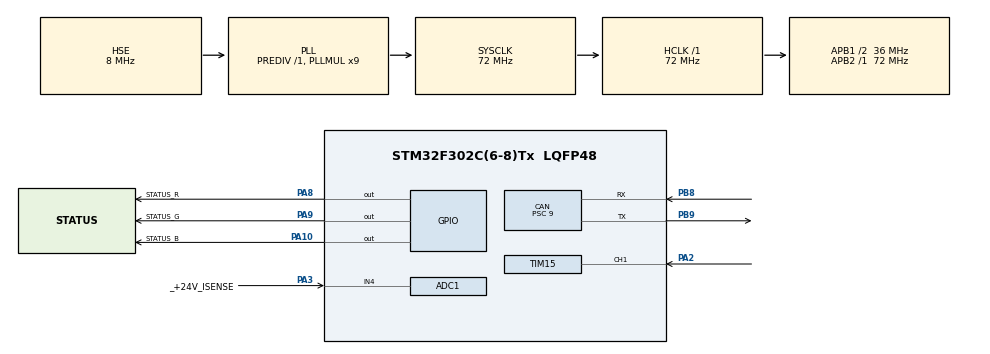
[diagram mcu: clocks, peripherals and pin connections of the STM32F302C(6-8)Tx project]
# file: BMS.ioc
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ADC1.Channel-0\#ChannelRegularConversion=ADC_CHANNEL_4
ADC1.NbrOfConversionFlag=1
ADC1.Offset-0\#ChannelRegularConversion=0
ADC1.OffsetNumber-0\#ChannelRegularConversion=ADC_OFFSET_NONE
ADC1.Rank-0\#ChannelRegularConversion=1
ADC1.SamplingTime-0\#ChannelRegularConversion=ADC_SAMPLETIME_1CYCLE_5
ADC1.SubFamily=STM32F302x8
ADC1.master=1
CAN.ABOM=ENABLE
CAN.BS1=CAN_BS1_6TQ
CAN.CalculateTimeQuantum=250.0
CAN.NART=ENABLE
CAN.Prescaler=9
CAN.RFLM=ENABLE
CAN.SJW=CAN_SJW_4TQ
CAN.TXFP=ENABLE
FREERTOS.INCLUDE_uxTaskGetStackHighWaterMark=1
FREERTOS.INCLUDE_vTaskDelayUntil=1
FREERTOS.MEMORY_ALLOCATION=1
FREERTOS.Tasks01=Task1Hz,-2,128,RunTask1Hz,Default,NULL,Static,Task1HzBuffer,Task1HzControlBlock;Task1kHz,1,128,RunTask1kHz,Default,NULL,Static,Task1kHzBuffer,Task1kHzControlBlock;TaskCanRx,3,128,RunTaskCanRx,Default,NULL,Static,TaskCanRxBuffer,TaskCanRxControlBlock;TaskCanTx,3,128,RunTaskCanTx,Default,NULL,Static,TaskCanTxBuffer,TaskCanTxControlBlock
FREERTOS.configCHECK_FOR_STACK_OVERFLOW=2
FREERTOS.configUSE_TRACE_FACILITY=1
IWDG.Reload=LSI_FREQUENCY / IWDG_PRESCALER / IWDG_RESET_FREQUENCY
IWDG.Window=IWDG_WINDOW_DISABLE_VALUE
Mcu.Family=STM32F3
Mcu.Name=STM32F302C(6-8)Tx
Mcu.Package=LQFP48
Mcu.UserConstants=IWDG_WINDOW_DISABLE_VALUE,4095;IWDG_PRESCALER,4;IWDG_RESET_FREQUENCY,5;LSI_FREQUENCY,40000
NVIC.CAN_RX1_IRQn=true\:5\:0\:false\:false\:true\:true\:true\:true
NVIC.PriorityGroup=NVIC_PRIORITYGROUP_4
NVIC.TIM1_BRK_TIM15_IRQn=true\:5\:0\:false\:false\:true\:true\:true\:true
NVIC.TIM2_IRQn=true\:0\:0\:false\:false\:true\:false\:false\:true
NVIC.TimeBase=TIM2_IRQn
NVIC.TimeBaseIP=TIM2
NVIC.USB_HP_CAN_TX_IRQn=true\:5\:0\:false\:false\:true\:true\:true\:true
NVIC.USB_LP_CAN_RX0_IRQn=true\:5\:0\:false\:false\:true\:true\:true\:true
PA10.GPIO_Label=STATUS_B
PA10.PinState=GPIO_PIN_SET
PA10.Signal=GPIO_Output
PA13.Mode=Trace_Asynchronous_SW
PA13.Signal=SYS_JTMS-SWDIO
PA14.Mode=Trace_Asynchronous_SW
PA14.Signal=SYS_JTCK-SWCLK
PA2.Signal=S_TIM15_CH1
PA3.GPIO_Label=_+24V_ISENSE
PA3.Mode=IN4-Single-Ended
PA3.Signal=ADC1_IN4
PA8.GPIO_Label=STATUS_R
PA8.PinState=GPIO_PIN_SET
PA8.Signal=GPIO_Output
PA9.GPIO_Label=STATUS_G
PA9.PinState=GPIO_PIN_SET
PA9.Signal=GPIO_Output
PB12.Signal=SPI2_NSS
PB13.Signal=SPI2_SCK
PB14.Signal=SPI2_MISO
PB15.Signal=SPI2_MOSI
PB3.Mode=Trace_Asynchronous_SW
PB3.Signal=SYS_JTDO-TRACESWO
PB6.Signal=I2C1_SCL
PB7.Signal=I2C1_SDA
PB8.Mode=Master
PB8.Signal=CAN_RX
PB9.Mode=Master
PB9.Signal=CAN_TX
PF0-OSC_IN.Mode=HSE-External-Oscillator
PF0-OSC_IN.Signal=RCC_OSC_IN
PF1-OSC_OUT.Mode=HSE-External-Oscillator
PF1-OSC_OUT.Signal=RCC_OSC_OUT
ProjectManager.HeapSize=0x0
ProjectManager.StackSize=0x400
ProjectManager.TargetToolchain=SW4STM32
RCC.AHBFreq_Value=72000000
RCC.APB1CLKDivider=RCC_HCLK_DIV2
RCC.APB1Freq_Value=36000000
RCC.APB1TimFreq_Value=72000000
RCC.APB2Freq_Value=72000000
RCC.APB2TimFreq_Value=72000000
RCC.CortexFreq_Value=72000000
RCC.HCLKFreq_Value=72000000
RCC.HSE_VALUE=8000000
RCC.HSI_VALUE=8000000
RCC.LSE_VALUE=32768
RCC.PLLMUL=RCC_PLL_MUL9
RCC.PLLSourceVirtual=RCC_PLLSOURCE_HSE
RCC.SYSCLKFreq_VALUE=72000000
RCC.SYSCLKSourceVirtual=RCC_SYSCLKSOURCE_PLLCLK
RCC.USBFreq_Value=72000000
SH.S_TIM15_CH1.0=TIM15_CH1,PWM_Input_1
TIM15.ICPolarity_1=TIM_INPUTCHANNELPOLARITY_RISING
VP_FREERTOS_VS_CMSIS_V1.Mode=CMSIS_V1
VP_IWDG_VS_IWDG.Mode=IWDG_Activate
VP_SYS_VS_tim2.Mode=TIM2
VP_TIM15_VS_ClockSourceINT.Mode=Internal
board=custom

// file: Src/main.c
/* USER CODE BEGIN Header */
/**
 ******************************************************************************
 * @file           : main.c
 * @brief          : Main program body
 ******************************************************************************
 * @attention
 *
 * <h2><center>&copy; Copyright (c) 2019 STMicroelectronics.
 * All rights reserved.</center></h2>
 *
 * This software component is licensed by ST under BSD 3-Clause license,
 * the "License"; You may not use this file except in compliance with the
 * License. You may obtain a copy of the License at:
 *                        opensource.org/licenses/BSD-3-Clause
 *
 ******************************************************************************
 */
/* USER CODE END Header */

#include "main.h"
#include "cmsis_os.h"

/* USER CODE BEGIN Includes */
#include "SharedAssert.h"
#include "SharedCan.h"
#include "SharedCmsisOs.h"
#include "SharedHardFaultHandler.h"
#include "SharedWatchdog.h"
#include "Io_Can.h"
#include "auto_generated/App_CanTx.h"
#include "auto_generated/App_CanRx.h"
/* USER CODE END Includes */

ADC_HandleTypeDef hadc1;

CAN_HandleTypeDef hcan;

IWDG_HandleTypeDef hiwdg;

TIM_HandleTypeDef htim15;

osThreadId          Task1HzHandle;
uint32_t            Task1HzBuffer[128];
osStaticThreadDef_t Task1HzControlBlock;
osThreadId          Task1kHzHandle;
uint32_t            Task1kHzBuffer[128];
osStaticThreadDef_t Task1kHzControlBlock;
osThreadId          TaskCanRxHandle;
uint32_t            TaskCanRxBuffer[128];
osStaticThreadDef_t TaskCanRxControlBlock;
osThreadId          TaskCanTxHandle;
uint32_t            TaskCanTxBuffer[128];
osStaticThreadDef_t TaskCanTxControlBlock;

void        SystemClock_Config(void);
static void MX_GPIO_Init(void);
static void MX_CAN_Init(void);
static void MX_ADC1_Init(void);
static void MX_IWDG_Init(void);
static void MX_TIM15_Init(void);
void        RunTask1Hz(void const *argument);
void        RunTask1kHz(void const *argument);
void        RunTaskCanRx(void const *argument);
void        RunTaskCanTx(void const *argument);

int main(void)
{
    /* USER CODE BEGIN 1 */
    __HAL_DBGMCU_FREEZE_IWDG();
    SharedHardFaultHandler_Init();
    App_CanTx_Init();
    App_CanRx_Init();
    /* USER CODE END 1 */

    /* MCU
     * Configuration--------------------------------------------------------*/

    /* Reset of all peripherals, Initializes the Flash interface and the
     * Systick. */
    HAL_Init();

    /* Configure the system clock */
    SystemClock_Config();

    /* Initialize all configured peripherals */
    MX_GPIO_Init();
    MX_CAN_Init();
    MX_ADC1_Init();
    MX_IWDG_Init();
    MX_TIM15_Init();

    /* Create the thread(s) */
    /* definition and creation of Task1Hz */
    osThreadStaticDef(
        Task1Hz, RunTask1Hz, osPriorityLow, 0, 128, Task1HzBuffer,
        &Task1HzControlBlock);
    Task1HzHandle = osThreadCreate(osThread(Task1Hz), NULL);

    /* definition and creation of Task1kHz */
    osThreadStaticDef(
        Task1kHz, RunTask1kHz, osPriorityAboveNormal, 0, 128, Task1kHzBuffer,
        &Task1kHzControlBlock);
    Task1kHzHandle = osThreadCreate(osThread(Task1kHz), NULL);

    /* definition and creation of TaskCanRx */
    osThreadStaticDef(
        TaskCanRx, RunTaskCanRx, osPriorityRealtime, 0, 128, TaskCanRxBuffer,
        &TaskCanRxControlBlock);
    TaskCanRxHandle = osThreadCreate(osThread(TaskCanRx), NULL);

    /* definition and creation of TaskCanTx */
    osThreadStaticDef(
        TaskCanTx, RunTaskCanTx, osPriorityRealtime, 0, 128, TaskCanTxBuffer,
        &TaskCanTxControlBlock);
    TaskCanTxHandle = osThreadCreate(osThread(TaskCanTx), NULL);

    /* USER CODE BEGIN RTOS_THREADS */
    /* add threads, ... */
    // According to Percpio documentation, vTraceEnable() should be the last
    // function call before the scheduler starts.
#if (configUSE_TRACE_FACILITY == 1)
    vTraceEnable(TRC_INIT);
#endif
    /* USER CODE END RTOS_THREADS */

    /* Start scheduler */
    osKernelStart();

    /* We should never get here as control is now taken by the scheduler */

    /* Infinite loop */
    while (1)
    {

    }
}

void SystemClock_Config(void)
{
    RCC_OscInitTypeDef       RCC_OscInitStruct = { 0 };
    RCC_ClkInitTypeDef       RCC_ClkInitStruct = { 0 };
    RCC_PeriphCLKInitTypeDef PeriphClkInit     = { 0 };

    /** Initializes the CPU, AHB and APB busses clocks
     */
    RCC_OscInitStruct.OscillatorType =
        RCC_OSCILLATORTYPE_LSI | RCC_OSCILLATORTYPE_HSE;
    RCC_OscInitStruct.HSEState       = RCC_HSE_ON;
    RCC_OscInitStruct.HSEPredivValue = RCC_HSE_PREDIV_DIV1;
    RCC_OscInitStruct.HSIState       = RCC_HSI_ON;
    RCC_OscInitStruct.LSIState       = RCC_LSI_ON;
    RCC_OscInitStruct.PLL.PLLState   = RCC_PLL_ON;
    RCC_OscInitStruct.PLL.PLLSource  = RCC_PLLSOURCE_HSE;
    RCC_OscInitStruct.PLL.PLLMUL     = RCC_PLL_MUL9;
    if (HAL_RCC_OscConfig(&RCC_OscInitStruct) != HAL_OK)
    {
        Error_Handler();
    }
    /** Initializes the CPU, AHB and APB busses clocks
     */
    RCC_ClkInitStruct.ClockType = RCC_CLOCKTYPE_HCLK | RCC_CLOCKTYPE_SYSCLK |
                                  RCC_CLOCKTYPE_PCLK1 | RCC_CLOCKTYPE_PCLK2;
    RCC_ClkInitStruct.SYSCLKSource   = RCC_SYSCLKSOURCE_PLLCLK;
    RCC_ClkInitStruct.AHBCLKDivider  = RCC_SYSCLK_DIV1;
    RCC_ClkInitStruct.APB1CLKDivider = RCC_HCLK_DIV2;
    RCC_ClkInitStruct.APB2CLKDivider = RCC_HCLK_DIV1;

    if (HAL_RCC_ClockConfig(&RCC_ClkInitStruct, FLASH_LATENCY_2) != HAL_OK)
    {
        Error_Handler();
    }
    PeriphClkInit.PeriphClockSelection =
        RCC_PERIPHCLK_TIM15 | RCC_PERIPHCLK_ADC1;
    PeriphClkInit.Tim15ClockSelection = RCC_TIM15CLK_HCLK;
    PeriphClkInit.Adc1ClockSelection  = RCC_ADC1PLLCLK_DIV1;

    if (HAL_RCCEx_PeriphCLKConfig(&PeriphClkInit) != HAL_OK)
    {
        Error_Handler();
    }
}

static void MX_ADC1_Init(void)
{

    ADC_ChannelConfTypeDef sConfig = { 0 };

    /** Common config
     */
    hadc1.Instance                   = ADC1;
    hadc1.Init.ClockPrescaler        = ADC_CLOCK_ASYNC_DIV1;
    hadc1.Init.Resolution            = ADC_RESOLUTION_12B;
    hadc1.Init.ScanConvMode          = ADC_SCAN_DISABLE;
    hadc1.Init.ContinuousConvMode    = DISABLE;
    hadc1.Init.DiscontinuousConvMode = DISABLE;
    hadc1.Init.ExternalTrigConvEdge  = ADC_EXTERNALTRIGCONVEDGE_NONE;
    hadc1.Init.ExternalTrigConv      = ADC_SOFTWARE_START;
    hadc1.Init.DataAlign             = ADC_DATAALIGN_RIGHT;
    hadc1.Init.NbrOfConversion       = 1;
    hadc1.Init.DMAContinuousRequests = DISABLE;
    hadc1.Init.EOCSelection          = ADC_EOC_SINGLE_CONV;
    hadc1.Init.LowPowerAutoWait      = DISABLE;
    hadc1.Init.Overrun               = ADC_OVR_DATA_OVERWRITTEN;
    if (HAL_ADC_Init(&hadc1) != HAL_OK)
    {
        Error_Handler();
    }
    /** Configure Regular Channel
     */
    sConfig.Channel      = ADC_CHANNEL_4;
    sConfig.Rank         = ADC_REGULAR_RANK_1;
    sConfig.SingleDiff   = ADC_SINGLE_ENDED;
    sConfig.SamplingTime = ADC_SAMPLETIME_1CYCLE_5;
    sConfig.OffsetNumber = ADC_OFFSET_NONE;
    sConfig.Offset       = 0;
    if (HAL_ADC_ConfigChannel(&hadc1, &sConfig) != HAL_OK)
    {
        Error_Handler();
    }
}

static void MX_CAN_Init(void)
{

    hcan.Instance                  = CAN;
    hcan.Init.Prescaler            = 9;
    hcan.Init.Mode                 = CAN_MODE_NORMAL;
    hcan.Init.SyncJumpWidth        = CAN_SJW_4TQ;
    hcan.Init.TimeSeg1             = CAN_BS1_6TQ;
    hcan.Init.TimeSeg2             = CAN_BS2_1TQ;
    hcan.Init.TimeTriggeredMode    = DISABLE;
    hcan.Init.AutoBusOff           = ENABLE;
    hcan.Init.AutoWakeUp           = DISABLE;
    hcan.Init.AutoRetransmission   = ENABLE;
    hcan.Init.ReceiveFifoLocked    = ENABLE;
    hcan.Init.TransmitFifoPriority = ENABLE;
    if (HAL_CAN_Init(&hcan) != HAL_OK)
    {
        Error_Handler();
    }
    /* USER CODE BEGIN CAN_Init 2 */
    SharedCan_Init(
        &hcan, Io_Can_GetCanMaskFilters(), Io_Can_GetNumberOfCanMaskFilters());
    /* USER CODE END CAN_Init 2 */
}

static void MX_IWDG_Init(void)
{

    hiwdg.Instance       = IWDG;
    hiwdg.Init.Prescaler = IWDG_PRESCALER_4;
    hiwdg.Init.Window    = IWDG_WINDOW_DISABLE_VALUE;
    hiwdg.Init.Reload = LSI_FREQUENCY / IWDG_PRESCALER / IWDG_RESET_FREQUENCY;
    if (HAL_IWDG_Init(&hiwdg) != HAL_OK)
    {
        Error_Handler();
    }
    /* USER CODE BEGIN IWDG_Init 2 */
    SharedWatchdog_SetIwdgInitialized(&hiwdg);
    /* USER CODE END IWDG_Init 2 */
}

static void MX_TIM15_Init(void)
{

    TIM_ClockConfigTypeDef  sClockSourceConfig = { 0 };
    TIM_SlaveConfigTypeDef  sSlaveConfig       = { 0 };
    TIM_IC_InitTypeDef      sConfigIC          = { 0 };
    TIM_MasterConfigTypeDef sMasterConfig      = { 0 };

    htim15.Instance               = TIM15;
    htim15.Init.Prescaler         = 0;
    htim15.Init.CounterMode       = TIM_COUNTERMODE_UP;
    htim15.Init.Period            = 0;
    htim15.Init.ClockDivision     = TIM_CLOCKDIVISION_DIV1;
    htim15.Init.RepetitionCounter = 0;
    htim15.Init.AutoReloadPreload = TIM_AUTORELOAD_PRELOAD_DISABLE;
    if (HAL_TIM_Base_Init(&htim15) != HAL_OK)
    {
        Error_Handler();
    }
    sClockSourceConfig.ClockSource = TIM_CLOCKSOURCE_INTERNAL;
    if (HAL_TIM_ConfigClockSource(&htim15, &sClockSourceConfig) != HAL_OK)
    {
        Error_Handler();
    }
    if (HAL_TIM_IC_Init(&htim15) != HAL_OK)
    {
        Error_Handler();
    }
    sSlaveConfig.SlaveMode        = TIM_SLAVEMODE_RESET;
    sSlaveConfig.InputTrigger     = TIM_TS_TI1FP1;
    sSlaveConfig.TriggerPolarity  = TIM_INPUTCHANNELPOLARITY_RISING;
    sSlaveConfig.TriggerPrescaler = TIM_ICPSC_DIV1;
    sSlaveConfig.TriggerFilter    = 0;
    if (HAL_TIM_SlaveConfigSynchronization(&htim15, &sSlaveConfig) != HAL_OK)
    {
        Error_Handler();
    }
    sConfigIC.ICPolarity  = TIM_INPUTCHANNELPOLARITY_RISING;
    sConfigIC.ICSelection = TIM_ICSELECTION_DIRECTTI;
    sConfigIC.ICPrescaler = TIM_ICPSC_DIV1;
    sConfigIC.ICFilter    = 0;
    if (HAL_TIM_IC_ConfigChannel(&htim15, &sConfigIC, TIM_CHANNEL_1) != HAL_OK)
    {
        Error_Handler();
    }
    sConfigIC.ICPolarity  = TIM_INPUTCHANNELPOLARITY_FALLING;
    sConfigIC.ICSelection = TIM_ICSELECTION_INDIRECTTI;
    if (HAL_TIM_IC_ConfigChannel(&htim15, &sConfigIC, TIM_CHANNEL_2) != HAL_OK)
    {
        Error_Handler();
    }
    sMasterConfig.MasterOutputTrigger = TIM_TRGO_RESET;
    sMasterConfig.MasterSlaveMode     = TIM_MASTERSLAVEMODE_DISABLE;
    if (HAL_TIMEx_MasterConfigSynchronization(&htim15, &sMasterConfig) !=
        HAL_OK)
    {
        Error_Handler();
    }
    /* USER CODE BEGIN TIM15_Init 2 */
    HAL_TIM_IC_Start_IT(&htim15, TIM_CHANNEL_1);
    HAL_TIM_IC_Start_IT(&htim15, TIM_CHANNEL_2);
    /* USER CODE END TIM15_Init 2 */
}

static void MX_GPIO_Init(void)
{
    GPIO_InitTypeDef GPIO_InitStruct = { 0 };

    /* GPIO Ports Clock Enable */
    __HAL_RCC_GPIOC_CLK_ENABLE();
    __HAL_RCC_GPIOF_CLK_ENABLE();
    __HAL_RCC_GPIOA_CLK_ENABLE();
    __HAL_RCC_GPIOB_CLK_ENABLE();

    /*Configure GPIO pin Output Level */
    HAL_GPIO_WritePin(
        GPIOA, STATUS_R_Pin | STATUS_G_Pin | STATUS_B_Pin, GPIO_PIN_SET);

    /*Configure GPIO pins : PC13 PC14 PC15 */
    GPIO_InitStruct.Pin  = GPIO_PIN_13 | GPIO_PIN_14 | GPIO_PIN_15;
    GPIO_InitStruct.Mode = GPIO_MODE_ANALOG;
    GPIO_InitStruct.Pull = GPIO_NOPULL;
    HAL_GPIO_Init(GPIOC, &GPIO_InitStruct);

    /*Configure GPIO pins : PA0 PA1 PA4 PA5
                             PA6 PA7 PA11 PA12
                             PA15 */
    GPIO_InitStruct.Pin = GPIO_PIN_0 | GPIO_PIN_1 | GPIO_PIN_4 | GPIO_PIN_5 |
                          GPIO_PIN_6 | GPIO_PIN_7 | GPIO_PIN_11 | GPIO_PIN_12 |
                          GPIO_PIN_15;
    GPIO_InitStruct.Mode = GPIO_MODE_ANALOG;
    GPIO_InitStruct.Pull = GPIO_NOPULL;
    HAL_GPIO_Init(GPIOA, &GPIO_InitStruct);

    /*Configure GPIO pins : PB0 PB1 PB2 PB10
                             PB11 PB4 PB5 */
    GPIO_InitStruct.Pin = GPIO_PIN_0 | GPIO_PIN_1 | GPIO_PIN_2 | GPIO_PIN_10 |
                          GPIO_PIN_11 | GPIO_PIN_4 | GPIO_PIN_5;
    GPIO_InitStruct.Mode = GPIO_MODE_ANALOG;
    GPIO_InitStruct.Pull = GPIO_NOPULL;
    HAL_GPIO_Init(GPIOB, &GPIO_InitStruct);

    /*Configure GPIO pins : PB12 PB13 PB14 PB15 */
    GPIO_InitStruct.Pin = GPIO_PIN_12 | GPIO_PIN_13 | GPIO_PIN_14 | GPIO_PIN_15;
    GPIO_InitStruct.Mode      = GPIO_MODE_AF_PP;
    GPIO_InitStruct.Pull      = GPIO_NOPULL;
    GPIO_InitStruct.Speed     = GPIO_SPEED_FREQ_HIGH;
    GPIO_InitStruct.Alternate = GPIO_AF5_SPI2;
    HAL_GPIO_Init(GPIOB, &GPIO_InitStruct);

    /*Configure GPIO pins : STATUS_R_Pin STATUS_G_Pin STATUS_B_Pin */
    GPIO_InitStruct.Pin   = STATUS_R_Pin | STATUS_G_Pin | STATUS_B_Pin;
    GPIO_InitStruct.Mode  = GPIO_MODE_OUTPUT_PP;
    GPIO_InitStruct.Pull  = GPIO_NOPULL;
    GPIO_InitStruct.Speed = GPIO_SPEED_FREQ_LOW;
    HAL_GPIO_Init(GPIOA, &GPIO_InitStruct);

    /*Configure GPIO pins : PB6 PB7 */
    GPIO_InitStruct.Pin       = GPIO_PIN_6 | GPIO_PIN_7;
    GPIO_InitStruct.Mode      = GPIO_MODE_AF_OD;
    GPIO_InitStruct.Pull      = GPIO_PULLUP;
    GPIO_InitStruct.Speed     = GPIO_SPEED_FREQ_HIGH;
    GPIO_InitStruct.Alternate = GPIO_AF4_I2C1;
    HAL_GPIO_Init(GPIOB, &GPIO_InitStruct);
}

void RunTask1Hz(void const *argument)
{
    /* USER CODE BEGIN 5 */
    UNUSED(argument);
    uint32_t PreviousWakeTime = osKernelSysTick();

    for (;;)
    {
        (void)SharedCmsisOs_osDelayUntilMs(&PreviousWakeTime, 1000U);
    }
    /* USER CODE END 5 */
}

void RunTask1kHz(void const *argument)
{
    /* USER CODE BEGIN RunTask1kHz */
    UNUSED(argument);
    uint32_t PreviousWakeTime = osKernelSysTick();

    for (;;)
    {
        App_CanTx_TransmitPeriodicMessages();
        // TODO (#361) :Implement proper watchdog check-in mechanism
        SharedWatchdog_RefreshIwdg();
        (void)SharedCmsisOs_osDelayUntilMs(&PreviousWakeTime, 1U);
    }
    /* USER CODE END RunTask1kHz */
}

void RunTaskCanRx(void const *argument)
{
    /* USER CODE BEGIN RunTaskCanRx */
    UNUSED(argument);

    for (;;)
    {
        App_SharedCan_ReadRxMessagesIntoTableFromTask();
    }
    /* USER CODE END RunTaskCanRx */
}

void RunTaskCanTx(void const *argument)
{
    /* USER CODE BEGIN RunTaskCanTx */
    UNUSED(argument);

    for (;;)
    {
        App_SharedCan_TransmitEnqueuedCanTxMessagesFromTask();
    }
    /* USER CODE END RunTaskCanTx */
}

void HAL_TIM_PeriodElapsedCallback(TIM_HandleTypeDef *htim)
{
    if (htim->Instance == TIM2)
    {
        HAL_IncTick();
    }
}

void Error_Handler(void)
{
    /* USER CODE BEGIN Error_Handler_Debug */
    SharedAssert_AssertFailed(file, line, NULL);
    /* USER CODE END Error_Handler_Debug */
}

#ifdef USE_FULL_ASSERT
/**
 * @brief  Reports the name of the source file and the source line number
 *         where the assert_param error has occurred.
 * @param  file: pointer to the source file name
 * @param  line: assert_param error line source number
 * @retval None
 */
void assert_failed(char *file, uint32_t line)
{
    /* USER CODE BEGIN 6 */
    SharedAssert_AssertFailed(file, line, NULL);
    /* USER CODE END 6 */
}
#endif /* USE_FULL_ASSERT */

/************************ (C) COPYRIGHT STMicroelectronics *****END OF FILE****/
